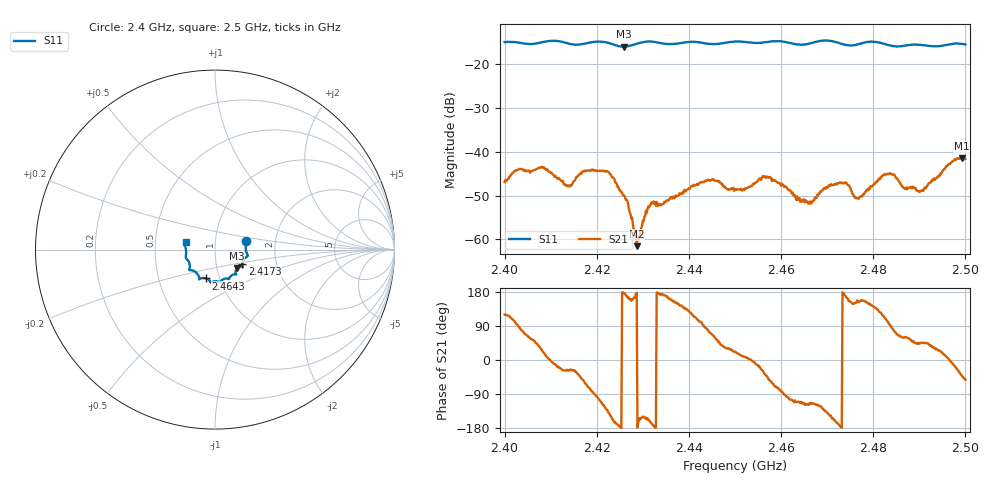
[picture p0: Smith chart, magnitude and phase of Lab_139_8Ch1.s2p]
# Hz S RI R 50
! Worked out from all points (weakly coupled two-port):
!   601 points, 2.4 GHz to 2.5 GHz, reference 50 ohm
!   highest |S21| = -41.42 dB at 2.4992 GHz (marker M1); lowest = -61.5 dB at 2.4287 GHz (marker M2)
!   lowest |S11| = -15.9 dB at 2.4258 GHz (marker M3), VSWR 1.38, Z = 62.3 - j13.2 ohm
!   |S11| at or under -10 dB: start of sweep to end of sweep
!   S12 and S22 are empty: the file has one direction only
!   S11 on the Smith chart (normalised r, x): 2.4 GHz: 1.41, +0.14; 2.4173 GHz: 1.34, -0.23; 2.4643 GHz: 0.86, -0.28; 2.5 GHz: 0.72, +0.06
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2.4e9  0.1732 0.0489  -0.00225 0.00392  0 0  0 0
2.402667e9  0.1755 0.0368  -0.000451 0.00612  0 0  0 0
2.408e9  0.1777 -0.0214  0.006 0.0031  0 0  0 0
2.414e9  0.1663 -0.0471  0.00369 -0.00188  0 0  0 0
2.416667e9  0.1529 -0.0745  0.0037 -0.00423  0 0  0 0
2.417333e9  0.1521 -0.082  0.00317 -0.00523  0 0  0 0
2.4225e9  0.1488 -0.0949  -0.00445 -0.00394  0 0  0 0
2.425833e9  0.1215 -0.1036  -0.00318 0.000223  0 0  0 0
2.428667e9  0.115 -0.1289  -0.000836 4.18e-05  0 0  0 0
2.4315e9  0.1189 -0.139  -0.00228 -0.000733  0 0  0 0
2.433333e9  0.1128 -0.1376  -0.00242 0.000204  0 0  0 0
2.444e9  0.0632 -0.1608  0.000742 0.00468  0 0  0 0
2.45e9  0.0288 -0.1811  0.00345 0.0014  0 0  0 0
2.457333e9  -0.0158 -0.1809  0.00315 -0.00399  0 0  0 0
2.464333e9  -0.0499 -0.1606  -0.000983 -0.00265  0 0  0 0
2.466667e9  -0.0758 -0.1591  -0.00112 -0.00246  0 0  0 0
2.473e9  -0.0911 -0.1468  -0.00441 -0.000235  0 0  0 0
2.477e9  -0.1265 -0.116  -0.00275 0.00126  0 0  0 0
2.483333e9  -0.1404 -0.0895  -0.000701 0.00558  0 0  0 0
2.490333e9  -0.1626 -0.0391  0.00257 0.00252  0 0  0 0
2.499167e9  -0.1682 0.038  0.00642 -0.00556  0 0  0 0
2.5e9  -0.164 0.0427  0.00512 -0.00656  0 0  0 0
